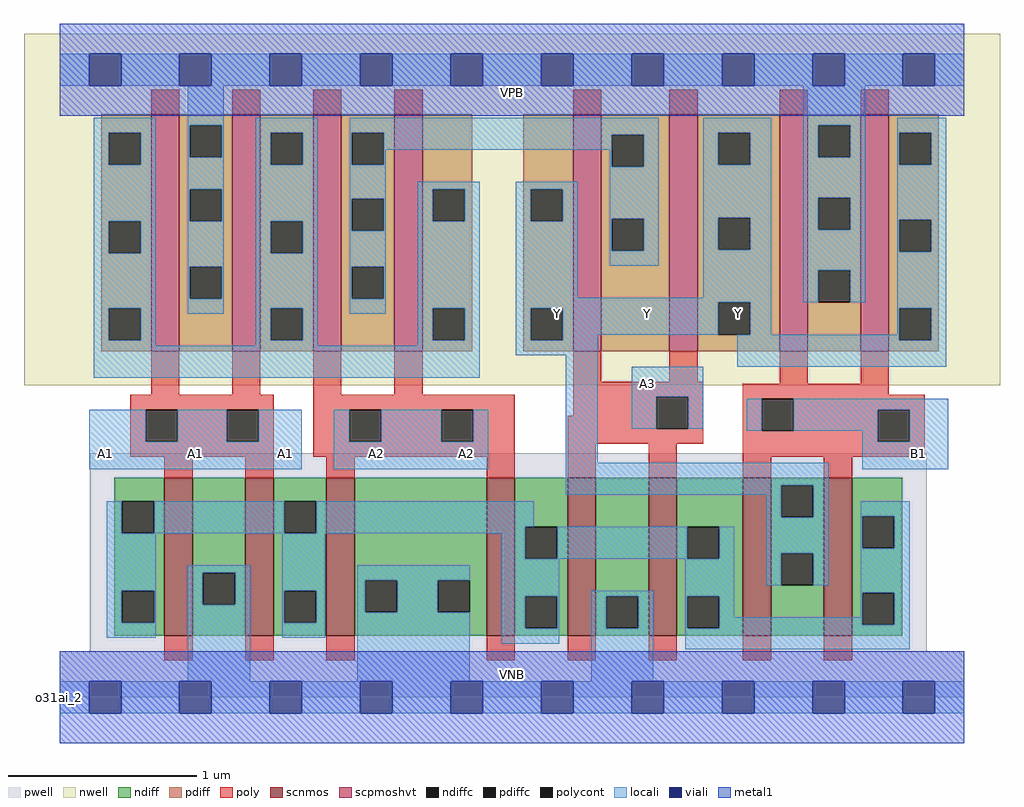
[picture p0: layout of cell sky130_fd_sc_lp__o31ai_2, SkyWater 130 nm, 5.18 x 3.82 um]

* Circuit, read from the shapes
.subckt sky130_fd_sc_lp__o31ai_2 A1 A2 A3 B1 VGND VNB VPB VPWR Y
XM1 VGND A1 n1 VNB sky130_fd_pr__nfet_01v8 w=0.84 l=0.15 m=2
XM2 VGND A2 n1 VNB sky130_fd_pr__nfet_01v8 w=0.84 l=0.15 m=2
XM3 VGND A3 n1 VNB sky130_fd_pr__nfet_01v8 w=0.84 l=0.15 m=2
XM4 Y B1 n1 VNB sky130_fd_pr__nfet_01v8 w=0.84 l=0.15 m=2
XM5 VPWR A1 n2 VPB sky130_fd_pr__pfet_01v8_hvt w=1.26 l=0.15 m=2
XM6 n3 A2 n2 VPB sky130_fd_pr__pfet_01v8_hvt w=1.26 l=0.15 m=2
XM7 n3 A3 Y VPB sky130_fd_pr__pfet_01v8_hvt w=1.26 l=0.15 m=2
XM8 VPWR B1 Y VPB sky130_fd_pr__pfet_01v8_hvt w=1.26 l=0.15 m=2
.ends

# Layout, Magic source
magic
tech sky130A
magscale 1 2
<< nwell >>
rect -38 331 998 704
<< pwell >>
rect 32 49 920 259
rect 0 0 960 49
<< scnmos >>
rect 111 65 141 233
rect 197 65 227 233
rect 283 65 313 233
rect 453 65 483 233
rect 539 65 569 233
rect 625 65 655 233
rect 725 65 755 233
rect 811 65 841 233
<< scpmoshvt >>
rect 97 367 127 619
rect 183 367 213 619
rect 269 367 299 619
rect 355 367 385 619
rect 545 367 575 619
rect 647 367 677 619
rect 764 367 794 619
rect 850 367 880 619
<< ndiff >>
rect 58 208 111 233
rect 58 174 66 208
rect 100 174 111 208
rect 58 113 111 174
rect 58 79 66 113
rect 100 79 111 113
rect 58 65 111 79
rect 141 132 197 233
rect 141 98 152 132
rect 186 98 197 132
rect 141 65 197 98
rect 227 208 283 233
rect 227 174 238 208
rect 272 174 283 208
rect 227 113 283 174
rect 227 79 238 113
rect 272 79 283 113
rect 227 65 283 79
rect 313 124 453 233
rect 313 90 324 124
rect 358 90 401 124
rect 435 90 453 124
rect 313 65 453 90
rect 483 181 539 233
rect 483 147 494 181
rect 528 147 539 181
rect 483 107 539 147
rect 483 73 494 107
rect 528 73 539 107
rect 483 65 539 73
rect 569 107 625 233
rect 569 73 580 107
rect 614 73 625 107
rect 569 65 625 73
rect 655 181 725 233
rect 655 147 666 181
rect 700 147 725 181
rect 655 107 725 147
rect 655 73 666 107
rect 700 73 725 107
rect 655 65 725 73
rect 755 225 811 233
rect 755 191 766 225
rect 800 191 811 225
rect 755 153 811 191
rect 755 119 766 153
rect 800 119 811 153
rect 755 65 811 119
rect 841 192 894 233
rect 841 158 852 192
rect 886 158 894 192
rect 841 111 894 158
rect 841 77 852 111
rect 886 77 894 111
rect 841 65 894 77
<< pdiff >>
rect 44 599 97 619
rect 44 565 52 599
rect 86 565 97 599
rect 44 505 97 565
rect 44 471 52 505
rect 86 471 97 505
rect 44 413 97 471
rect 44 379 52 413
rect 86 379 97 413
rect 44 367 97 379
rect 127 607 183 619
rect 127 573 138 607
rect 172 573 183 607
rect 127 539 183 573
rect 127 505 138 539
rect 172 505 183 539
rect 127 457 183 505
rect 127 423 138 457
rect 172 423 183 457
rect 127 367 183 423
rect 213 599 269 619
rect 213 565 224 599
rect 258 565 269 599
rect 213 505 269 565
rect 213 471 224 505
rect 258 471 269 505
rect 213 413 269 471
rect 213 379 224 413
rect 258 379 269 413
rect 213 367 269 379
rect 299 599 355 619
rect 299 565 310 599
rect 344 565 355 599
rect 299 529 355 565
rect 299 495 310 529
rect 344 495 355 529
rect 299 457 355 495
rect 299 423 310 457
rect 344 423 355 457
rect 299 367 355 423
rect 385 539 438 619
rect 385 505 396 539
rect 430 505 438 539
rect 385 413 438 505
rect 385 379 396 413
rect 430 379 438 413
rect 385 367 438 379
rect 492 539 545 619
rect 492 505 500 539
rect 534 505 545 539
rect 492 413 545 505
rect 492 379 500 413
rect 534 379 545 413
rect 492 367 545 379
rect 575 597 647 619
rect 575 563 586 597
rect 620 563 647 597
rect 575 508 647 563
rect 575 474 586 508
rect 620 474 647 508
rect 575 367 647 474
rect 677 599 764 619
rect 677 565 699 599
rect 733 565 764 599
rect 677 509 764 565
rect 677 475 699 509
rect 733 475 764 509
rect 677 419 764 475
rect 677 385 699 419
rect 733 385 764 419
rect 677 367 764 385
rect 794 607 850 619
rect 794 573 805 607
rect 839 573 850 607
rect 794 530 850 573
rect 794 496 805 530
rect 839 496 850 530
rect 794 453 850 496
rect 794 419 805 453
rect 839 419 850 453
rect 794 367 850 419
rect 880 599 933 619
rect 880 565 891 599
rect 925 565 933 599
rect 880 507 933 565
rect 880 473 891 507
rect 925 473 933 507
rect 880 413 933 473
rect 880 379 891 413
rect 925 379 933 413
rect 880 367 933 379
<< ndiffc >>
rect 66 174 100 208
rect 66 79 100 113
rect 152 98 186 132
rect 238 174 272 208
rect 238 79 272 113
rect 324 90 358 124
rect 401 90 435 124
rect 494 147 528 181
rect 494 73 528 107
rect 580 73 614 107
rect 666 147 700 181
rect 666 73 700 107
rect 766 191 800 225
rect 766 119 800 153
rect 852 158 886 192
rect 852 77 886 111
<< pdiffc >>
rect 52 565 86 599
rect 52 471 86 505
rect 52 379 86 413
rect 138 573 172 607
rect 138 505 172 539
rect 138 423 172 457
rect 224 565 258 599
rect 224 471 258 505
rect 224 379 258 413
rect 310 565 344 599
rect 310 495 344 529
rect 310 423 344 457
rect 396 505 430 539
rect 396 379 430 413
rect 500 505 534 539
rect 500 379 534 413
rect 586 563 620 597
rect 586 474 620 508
rect 699 565 733 599
rect 699 475 733 509
rect 699 385 733 419
rect 805 573 839 607
rect 805 496 839 530
rect 805 419 839 453
rect 891 565 925 599
rect 891 473 925 507
rect 891 379 925 413
<< poly >>
rect 97 619 127 645
rect 183 619 213 645
rect 269 619 299 645
rect 355 619 385 645
rect 545 619 575 645
rect 647 619 677 645
rect 764 619 794 645
rect 850 619 880 645
rect 97 321 127 367
rect 183 321 213 367
rect 269 321 299 367
rect 355 321 385 367
rect 545 335 575 367
rect 647 335 677 367
rect 75 305 227 321
rect 75 271 91 305
rect 125 271 177 305
rect 211 271 227 305
rect 75 255 227 271
rect 269 305 483 321
rect 269 271 307 305
rect 341 271 405 305
rect 439 271 483 305
rect 545 319 683 335
rect 764 333 794 367
rect 850 333 880 367
rect 545 299 633 319
rect 269 255 483 271
rect 111 233 141 255
rect 197 233 227 255
rect 283 233 313 255
rect 453 233 483 255
rect 539 285 633 299
rect 667 285 683 319
rect 539 269 683 285
rect 725 321 880 333
rect 725 317 918 321
rect 725 283 745 317
rect 779 305 918 317
rect 779 283 868 305
rect 725 271 868 283
rect 902 271 918 305
rect 539 233 569 269
rect 625 233 655 269
rect 725 255 918 271
rect 725 233 755 255
rect 811 233 841 255
rect 111 39 141 65
rect 197 39 227 65
rect 283 39 313 65
rect 453 39 483 65
rect 539 39 569 65
rect 625 39 655 65
rect 725 39 755 65
rect 811 39 841 65
<< polycont >>
rect 91 271 125 305
rect 177 271 211 305
rect 307 271 341 305
rect 405 271 439 305
rect 633 285 667 319
rect 745 283 779 317
rect 868 271 902 305
<< locali >>
rect 0 649 31 683
rect 65 649 127 683
rect 161 649 223 683
rect 257 649 319 683
rect 353 649 415 683
rect 449 649 511 683
rect 545 649 607 683
rect 641 649 703 683
rect 737 649 799 683
rect 833 649 895 683
rect 929 649 960 683
rect 36 599 102 615
rect 36 565 52 599
rect 86 565 102 599
rect 36 505 102 565
rect 36 471 52 505
rect 86 471 102 505
rect 36 413 102 471
rect 36 379 52 413
rect 86 379 102 413
rect 136 607 174 649
rect 136 573 138 607
rect 172 573 174 607
rect 136 539 174 573
rect 136 505 138 539
rect 172 505 174 539
rect 136 457 174 505
rect 136 423 138 457
rect 172 423 174 457
rect 136 407 174 423
rect 208 599 274 615
rect 208 565 224 599
rect 258 565 274 599
rect 208 505 274 565
rect 208 471 224 505
rect 258 471 274 505
rect 208 413 274 471
rect 36 373 102 379
rect 208 379 224 413
rect 258 379 274 413
rect 308 599 636 615
rect 308 565 310 599
rect 344 597 636 599
rect 344 581 586 597
rect 344 565 346 581
rect 308 529 346 565
rect 584 563 586 581
rect 620 563 636 597
rect 308 495 310 529
rect 344 495 346 529
rect 308 457 346 495
rect 308 423 310 457
rect 344 423 346 457
rect 308 407 346 423
rect 380 539 446 547
rect 380 505 396 539
rect 430 505 446 539
rect 380 413 446 505
rect 208 373 274 379
rect 380 379 396 413
rect 430 379 446 413
rect 380 373 446 379
rect 36 339 446 373
rect 484 539 550 547
rect 484 505 500 539
rect 534 505 550 539
rect 484 424 550 505
rect 584 508 636 563
rect 584 474 586 508
rect 620 474 636 508
rect 584 458 636 474
rect 683 599 755 615
rect 683 565 699 599
rect 733 565 755 599
rect 683 509 755 565
rect 683 475 699 509
rect 733 475 755 509
rect 683 424 755 475
rect 484 419 755 424
rect 789 607 855 649
rect 789 573 805 607
rect 839 573 855 607
rect 789 530 855 573
rect 789 496 805 530
rect 839 496 855 530
rect 789 453 855 496
rect 789 419 805 453
rect 839 419 855 453
rect 889 599 941 615
rect 889 565 891 599
rect 925 565 941 599
rect 889 507 941 565
rect 889 473 891 507
rect 925 473 941 507
rect 484 413 699 419
rect 484 379 500 413
rect 534 385 699 413
rect 733 385 755 419
rect 889 413 941 473
rect 889 385 891 413
rect 534 379 571 385
rect 484 363 571 379
rect 31 271 91 305
rect 125 271 177 305
rect 211 271 257 305
rect 31 242 257 271
rect 291 271 307 305
rect 341 271 405 305
rect 439 271 455 305
rect 291 242 455 271
rect 537 249 571 363
rect 719 379 891 385
rect 925 379 941 413
rect 719 351 941 379
rect 607 319 683 351
rect 607 285 633 319
rect 667 285 683 319
rect 729 283 745 317
rect 779 305 943 317
rect 779 283 868 305
rect 852 271 868 283
rect 902 271 943 305
rect 537 225 816 249
rect 852 242 943 271
rect 537 215 766 225
rect 50 174 66 208
rect 100 174 238 208
rect 272 181 503 208
rect 750 191 766 215
rect 800 191 816 225
rect 272 174 494 181
rect 50 113 102 174
rect 50 79 66 113
rect 100 79 102 113
rect 50 63 102 79
rect 136 132 202 140
rect 136 98 152 132
rect 186 98 202 132
rect 136 17 202 98
rect 236 113 282 174
rect 469 147 494 174
rect 528 147 666 181
rect 700 147 716 181
rect 236 79 238 113
rect 272 79 282 113
rect 236 63 282 79
rect 316 124 435 140
rect 316 90 324 124
rect 358 90 401 124
rect 316 17 435 90
rect 469 107 530 147
rect 469 73 494 107
rect 528 73 530 107
rect 469 57 530 73
rect 564 107 630 113
rect 564 73 580 107
rect 614 73 630 107
rect 564 17 630 73
rect 664 107 716 147
rect 750 153 816 191
rect 750 119 766 153
rect 800 119 816 153
rect 850 192 902 208
rect 850 158 852 192
rect 886 158 902 192
rect 664 73 666 107
rect 700 85 716 107
rect 850 111 902 158
rect 850 85 852 111
rect 700 77 852 85
rect 886 77 902 111
rect 700 73 902 77
rect 664 51 902 73
rect 0 -17 31 17
rect 65 -17 127 17
rect 161 -17 223 17
rect 257 -17 319 17
rect 353 -17 415 17
rect 449 -17 511 17
rect 545 -17 607 17
rect 641 -17 703 17
rect 737 -17 799 17
rect 833 -17 895 17
rect 929 -17 960 17
<< viali >>
rect 31 649 65 683
rect 127 649 161 683
rect 223 649 257 683
rect 319 649 353 683
rect 415 649 449 683
rect 511 649 545 683
rect 607 649 641 683
rect 703 649 737 683
rect 799 649 833 683
rect 895 649 929 683
rect 31 -17 65 17
rect 127 -17 161 17
rect 223 -17 257 17
rect 319 -17 353 17
rect 415 -17 449 17
rect 511 -17 545 17
rect 607 -17 641 17
rect 703 -17 737 17
rect 799 -17 833 17
rect 895 -17 929 17
<< metal1 >>
rect 0 683 960 715
rect 0 649 31 683
rect 65 649 127 683
rect 161 649 223 683
rect 257 649 319 683
rect 353 649 415 683
rect 449 649 511 683
rect 545 649 607 683
rect 641 649 703 683
rect 737 649 799 683
rect 833 649 895 683
rect 929 649 960 683
rect 0 617 960 649
rect 0 17 960 49
rect 0 -17 31 17
rect 65 -17 127 17
rect 161 -17 223 17
rect 257 -17 319 17
rect 353 -17 415 17
rect 449 -17 511 17
rect 545 -17 607 17
rect 641 -17 703 17
rect 737 -17 799 17
rect 833 -17 895 17
rect 929 -17 960 17
rect 0 -49 960 -17
<< labels >>
flabel pwell s 0 0 960 49 0 FreeSans 200 0 0 0 VNB
port 6 nsew ground bidirectional
flabel nwell s 0 617 960 666 0 FreeSans 200 0 0 0 VPB
port 7 nsew power bidirectional
rlabel comment s 0 0 0 0 4 o31ai_2
flabel metal1 s 0 617 960 666 0 FreeSans 340 0 0 0 VPWR
port 8 nsew power bidirectional
flabel metal1 s 0 0 960 49 0 FreeSans 340 0 0 0 VGND
port 5 nsew ground bidirectional
flabel locali s 511 390 545 424 0 FreeSans 340 0 0 0 Y
port 9 nsew signal output
flabel locali s 607 390 641 424 0 FreeSans 340 0 0 0 Y
port 9 nsew signal output
flabel locali s 703 390 737 424 0 FreeSans 340 0 0 0 Y
port 9 nsew signal output
flabel locali s 31 242 65 276 0 FreeSans 340 0 0 0 A1
port 1 nsew signal input
flabel locali s 127 242 161 276 0 FreeSans 340 0 0 0 A1
port 1 nsew signal input
flabel locali s 223 242 257 276 0 FreeSans 340 0 0 0 A1
port 1 nsew signal input
flabel locali s 415 242 449 276 0 FreeSans 340 0 0 0 A2
port 2 nsew signal input
flabel locali s 607 316 641 350 0 FreeSans 340 0 0 0 A3
port 3 nsew signal input
flabel locali s 895 242 929 276 0 FreeSans 340 0 0 0 B1
port 4 nsew signal input
flabel locali s 319 242 353 276 0 FreeSans 340 0 0 0 A2
port 2 nsew signal input
<< properties >>
string LEFsite unit
string LEFclass CORE
string FIXED_BBOX 0 0 960 666
string GDS_FILE $PDKPATH/libs.ref/sky130_fd_sc_lp/gds/sky130_fd_sc_lp.gds
string LEFsymmetry X Y R90
string GDS_END 353152
string GDS_START 344134
<< end >>
